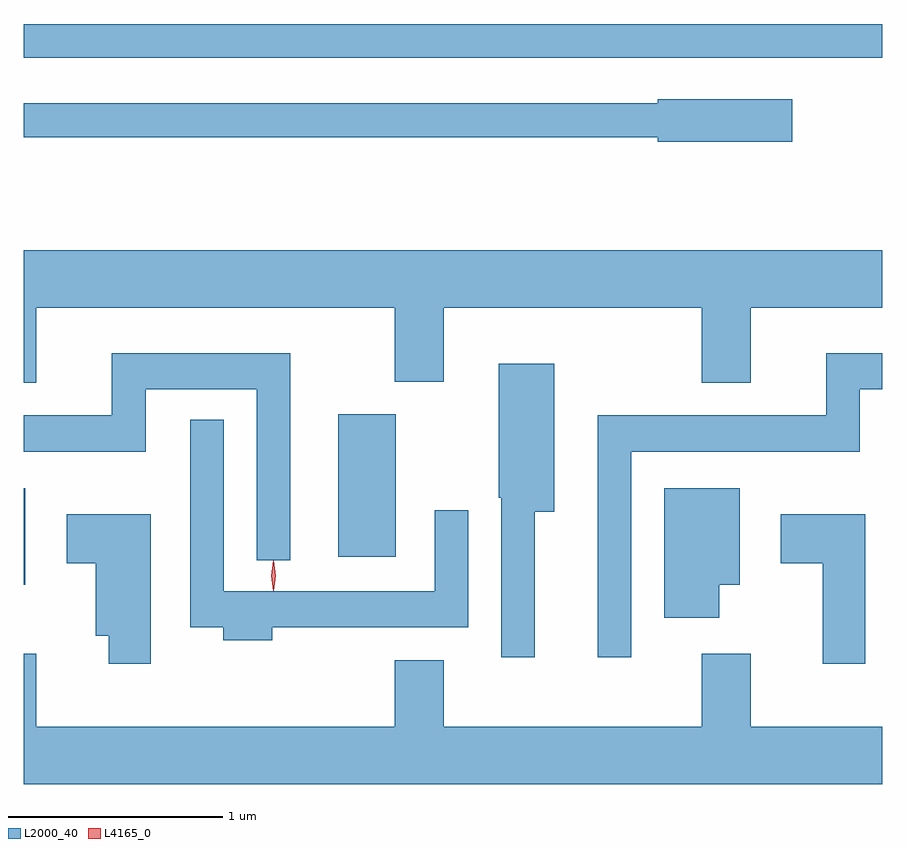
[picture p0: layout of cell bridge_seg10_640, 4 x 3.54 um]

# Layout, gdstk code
import gdstk
lib = gdstk.Library(unit=1e-6, precision=1e-09)
def R(c, l, rs):  # rectangles x0, y0, x1, y1
    for r in rs: c.add(gdstk.rectangle(r[:2], r[2:], *l))
def P(c, l, *ps):  # polygons
    for p in ps: c.add(gdstk.Polygon(p, *l))
L2000_40 = (2000, 40)
L4165_0 = (4165, 0)

bridge_seg10_640 = lib.new_cell('bridge_seg10_640')
R(bridge_seg10_640, L2000_40, [(1027.052,2108.186,1027.059,2108.634), (1028.516,2108.316,1028.784,2108.979), (1027.052,2110.641,1031.052,2110.799)])
P(bridge_seg10_640, L2000_40, [(1030.634,2110.449),(1030.006,2110.449),(1030.006,2110.429),(1027.052,2110.429),(1027.052,2110.271),(1030.006,2110.271),(1030.006,2110.251),(1030.634,2110.251)],
  [(1027.109,2109.476),(1028.781,2109.476),(1028.781,2109.131),(1029.009,2109.131),(1029.009,2109.476),(1030.211,2109.476),(1030.211,2109.126),(1030.439,2109.126),(1030.439,2109.476),(1031.052,2109.476),(1031.052,2109.744),(1027.052,2109.744),(1027.052,2109.126),(1027.109,2109.126)],
  [(1028.294,2109.264),(1027.461,2109.264),(1027.461,2108.974),(1027.052,2108.974),(1027.052,2108.806),(1027.619,2108.806),(1027.619,2109.096),(1028.136,2109.096),(1028.136,2108.298),(1028.294,2108.298)],
  [(1029.884,2108.806),(1030.949,2108.806),(1030.949,2109.096),(1031.052,2109.096),(1031.052,2109.264),(1030.791,2109.264),(1030.791,2108.974),(1029.726,2108.974),(1029.726,2107.848),(1029.884,2107.848)],
  [(1029.434,2108.526),(1029.524,2108.526),(1029.524,2109.214),(1029.266,2109.214),(1029.266,2108.59),(1029.276,2108.59),(1029.276,2107.848),(1029.434,2107.848)],
  [(1028.209,2107.986),(1029.124,2107.986),(1029.124,2108.533),(1028.966,2108.533),(1028.966,2108.154),(1027.984,2108.154),(1027.984,2108.953),(1027.826,2108.953),(1027.826,2107.986),(1027.981,2107.986),(1027.981,2107.926),(1028.209,2107.926)],
  [(1030.294,2108.186),(1030.389,2108.186),(1030.389,2108.634),(1030.036,2108.634),(1030.036,2108.031),(1030.294,2108.031)],
  [(1027.644,2108.514),(1027.251,2108.514),(1027.251,2108.286),(1027.386,2108.286),(1027.386,2107.946),(1027.446,2107.946),(1027.446,2107.816),(1027.644,2107.816)],
  [(1030.974,2108.514),(1030.581,2108.514),(1030.581,2108.286),(1030.776,2108.286),(1030.776,2107.816),(1030.974,2107.816)],
  [(1031.052,2107.524),(1030.439,2107.524),(1030.439,2107.864),(1030.211,2107.864),(1030.211,2107.524),(1029.009,2107.524),(1029.009,2107.834),(1028.781,2107.834),(1028.781,2107.524),(1027.109,2107.524),(1027.109,2107.864),(1027.052,2107.864),(1027.052,2107.256),(1031.052,2107.256)])
P(bridge_seg10_640, L4165_0, [(1028.214,2108.16),(1028.214,2108.16),(1028.205,2108.226),(1028.214,2108.292),(1028.215,2108.293),(1028.215,2108.292),(1028.224,2108.226),(1028.215,2108.16)],
  [(1028.215,2108.157),(1028.215,2108.158),(1028.205,2108.227),(1028.215,2108.296),(1028.215,2108.296),(1028.216,2108.296),(1028.225,2108.227),(1028.216,2108.158)])

lib.write_gds('bridge_seg10_640.gds')
